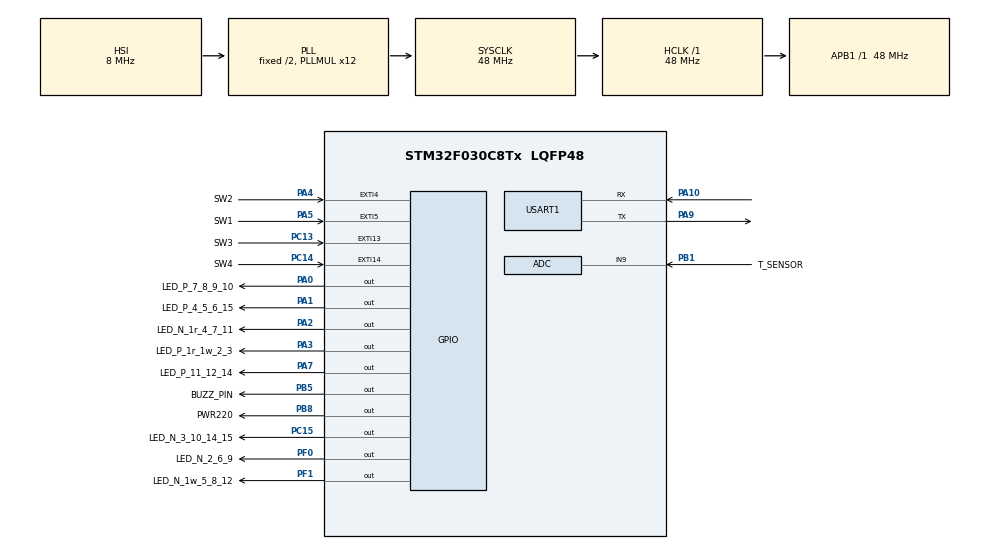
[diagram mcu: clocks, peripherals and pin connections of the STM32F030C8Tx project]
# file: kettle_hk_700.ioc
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Mcu.Family=STM32F0
Mcu.Name=STM32F030C8Tx
Mcu.Package=LQFP48
NVIC.EXTI4_15_IRQn=true\:0\:0\:false\:false\:true\:true\:true
NVIC.TIM14_IRQn=true\:0\:0\:false\:false\:true\:true\:true
NVIC.TIM15_IRQn=true\:0\:0\:false\:false\:true\:true\:true
NVIC.TIM16_IRQn=true\:0\:0\:false\:false\:true\:true\:true
NVIC.TIM6_IRQn=true\:0\:0\:false\:false\:true\:true\:true
PA0.GPIO_Label=LED_P_7_8_9_10
PA0.Signal=GPIO_Output
PA1.GPIO_Label=LED_P_4_5_6_15
PA1.Signal=GPIO_Output
PA10.Mode=Asynchronous
PA10.Signal=USART1_RX
PA13.Mode=Serial_Wire
PA13.Signal=SYS_SWDIO
PA14.Mode=Serial_Wire
PA14.Signal=SYS_SWCLK
PA2.GPIO_Label=LED_N_1r_4_7_11
PA2.Signal=GPIO_Output
PA3.GPIO_Label=LED_P_1r_1w_2_3
PA3.Signal=GPIO_Output
PA4.GPIO_Label=SW2
PA4.GPIO_ModeDefaultEXTI=GPIO_MODE_IT_RISING
PA4.GPIO_PuPd=GPIO_PULLUP
PA4.Signal=GPXTI4
PA5.GPIO_Label=SW1
PA5.GPIO_ModeDefaultEXTI=GPIO_MODE_IT_RISING
PA5.GPIO_PuPd=GPIO_PULLUP
PA5.Signal=GPXTI5
PA7.GPIO_Label=LED_P_11_12_14
PA7.Signal=GPIO_Output
PA9.Mode=Asynchronous
PA9.Signal=USART1_TX
PB1.GPIO_Label=T_SENSOR
PB1.Mode=IN9
PB1.Signal=ADC_IN9
PB5.GPIO_Label=BUZZ_PIN
PB5.Signal=GPIO_Output
PB8.GPIO_Label=PWR220
PB8.Signal=GPIO_Output
PC13.GPIO_Label=SW3
PC13.GPIO_ModeDefaultEXTI=GPIO_MODE_IT_RISING
PC13.GPIO_PuPd=GPIO_PULLUP
PC13.Signal=GPXTI13
PC14-OSC32_IN.GPIO_Label=SW4
PC14-OSC32_IN.GPIO_ModeDefaultEXTI=GPIO_MODE_IT_RISING
PC14-OSC32_IN.GPIO_PuPd=GPIO_PULLUP
PC14-OSC32_IN.Signal=GPXTI14
PC15-OSC32_OUT.GPIO_Label=LED_N_3_10_14_15
PC15-OSC32_OUT.GPIO_PuPd=GPIO_PULLDOWN
PC15-OSC32_OUT.Signal=GPIO_Output
PF0-OSC_IN.GPIO_Label=LED_N_2_6_9
PF0-OSC_IN.Signal=GPIO_Output
PF1-OSC_OUT.GPIO_Label=LED_N_1w_5_8_12
PF1-OSC_OUT.Signal=GPIO_Output
ProjectManager.HeapSize=0x200
ProjectManager.StackSize=0x400
ProjectManager.TargetToolchain=STM32CubeIDE
RCC.AHBFreq_Value=48000000
RCC.APB1Freq_Value=48000000
RCC.APB1TimFreq_Value=48000000
RCC.HCLKFreq_Value=48000000
RCC.PLLMUL=RCC_PLL_MUL12
RCC.SYSCLKFreq_VALUE=48000000
RCC.SYSCLKSource=RCC_SYSCLKSOURCE_PLLCLK
TIM14.Period=1
TIM14.Prescaler=48000-1
TIM15.Period=6
TIM15.Prescaler=1000
TIM16.Period=50
TIM16.Prescaler=15000-1
TIM6.Period=200
TIM6.Prescaler=48-1
USART1.VirtualMode-Asynchronous=VM_ASYNC
VP_TIM14_VS_ClockSourceINT.Mode=Enable_Timer
VP_TIM15_VS_ClockSourceINT.Mode=Internal
VP_TIM16_VS_ClockSourceINT.Mode=Enable_Timer
VP_TIM6_VS_ClockSourceINT.Mode=Enable_Timer
board=custom

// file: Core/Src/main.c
/* USER CODE BEGIN Header */
/**
  ******************************************************************************
  * @file           : main.c
  * @brief          : Main program body
  ******************************************************************************
  * @attention
  *
  * <h2><center>&copy; Copyright (c) 2021 STMicroelectronics.
  * All rights reserved.</center></h2>
  *
  * This software component is licensed by ST under BSD 3-Clause license,
  * the "License"; You may not use this file except in compliance with the
  * License. You may obtain a copy of the License at:
  *                        opensource.org/licenses/BSD-3-Clause
  *
  ******************************************************************************
  */
/* USER CODE END Header */
#include "main.h"

/* USER CODE BEGIN Includes */
#include <stdio.h>
#include <math.h>
/* USER CODE END Includes */

ADC_HandleTypeDef hadc;

TIM_HandleTypeDef htim6;
TIM_HandleTypeDef htim14;
TIM_HandleTypeDef htim15;
TIM_HandleTypeDef htim16;

UART_HandleTypeDef huart1;

/* USER CODE BEGIN PV */

EXTI_HandleTypeDef hexti;

/* USER CODE END PV */

void SystemClock_Config(void);
static void MX_GPIO_Init(void);
static void MX_ADC_Init(void);
static void MX_TIM6_Init(void);
static void MX_TIM14_Init(void);
static void MX_USART1_UART_Init(void);
static void MX_TIM15_Init(void);
static void MX_TIM16_Init(void);

/* USER CODE BEGIN 0 */

/**
  * @brief  Retargets the C library printf function to the USART.
  * @param  None
  * @retval None
  */
int __io_putchar(int ch)
{
  HAL_UART_Transmit(&huart1, (uint8_t *)&ch, 1, HAL_MAX_DELAY);
  return ch;
}

typedef struct {
	GPIO_TypeDef* port;
	int pin;
} GPIO_t;

// Temperature curve  19 .. 100 degrees celcius.
int T19_100[] = {
	 220,   // 19 C
	 232,  246,  257,  270,  280,  290,  305,  320,  340,  355,
	 370,  385,  400,  420,  440,  460,  475,  495,	 515,  530,
	 545,  575,  600,  620,  640,  660,  685,  710,  735,  775,
	 800,  830,  850,  880,  905,  935,  970, 1000, 1025, 1050,
	1080, 1120, 1140, 1172, 1188, 1220, 1265, 1300, 1320, 1360,
	1390, 1415, 1455, 1489, 1518, 1530,	1564, 1605, 1632, 1668,
	1675, 1708, 1741, 1774, 1807, 1840, 1873, 1906, 1939, 1972,
	2005, 2038, 2071, 2104, 2137, 2170, 2203, 2236, 2269, 2302,
	2335   // 100 C
};

// LED matrix
/*
 *
 *       |    A3       |   A1       |   A0       |   A7                  |
 * ------+-------------+------------+------------+-----------------------+
 *   A2  |  LED1r [bSr]| LED4 [t80] | LED7  [5m] |  LED11  [bStartBrew]  |
 * ------+-------------+------------+------------+-----------------------+
 *   F1  |  LED1w [bSw]| LED5 [t70] | LED8  [4m] |  LED12  [bSelT]       |
 * ------+-------------+------------+------------+-----------------------+
 *   F0  |  LED2 [t100]| LED6 [t60] | LED9  [3m] |                       |
 * ------+-------------+------------+------------+-----------------------+
 *   C15 |  LED3 [8m]  | LED15 [t90]| LED10 [2m] |  LED14  [bSelM]       |
 * ------+-------------+------------+------------+-----------------------+
 */

#define _bStartR     0     // LED1r
#define _t80_C       1     // LED4
#define _Brew_5m     2     // LED7
#define _bStartBrew  3     // LED11

#define _bStartW     4     // LED1w
#define _t70_C       5     // LED5
#define _Brew_4m     6     // LED8
#define _bSelectT    7     // LED12

#define _t100_C      8     // LED2
#define _t60_C       9     // LED6
#define _Brew_3m     10    // LED9

#define _Brew_8m     12    // LED3
#define _t90_C       13    // LED15
#define _Brew_2m     14    // LED10
#define _bSelectM    15    // LED14

GPIO_t LED_ROW_PINS[4] = {
		{LED_N_1r_4_7_11_GPIO_Port , LED_N_1r_4_7_11_Pin},
		{LED_N_1w_5_8_12_GPIO_Port, LED_N_1w_5_8_12_Pin},
		{LED_N_2_6_9_GPIO_Port, LED_N_2_6_9_Pin},
		{LED_N_3_10_14_15_GPIO_Port, LED_N_3_10_14_15_Pin}
};

GPIO_t LED_COL_PINS[4] = {
		{LED_P_1r_1w_2_3_GPIO_Port, LED_P_1r_1w_2_3_Pin},
	    {LED_P_4_5_6_15_GPIO_Port ,  LED_P_4_5_6_15_Pin},
	    {LED_P_7_8_9_10_GPIO_Port ,  LED_P_7_8_9_10_Pin},
	    {LED_P_11_12_14_GPIO_Port ,  LED_P_11_12_14_Pin}
};

int LED_state[4*4]; // LED matrix

int LED_Temp[5]     = {_t60_C, _t70_C, _t80_C, _t90_C, _t100_C};
int LED_BrewTime[5] = {_Brew_2m, _Brew_3m, _Brew_4m, _Brew_5m, _Brew_8m};

void ScanLED()
{
	static int col = 0;

	// light off LED column
	HAL_GPIO_WritePin(LED_COL_PINS[col].port, LED_COL_PINS[col].pin, GPIO_PIN_RESET);

	// Advance to next column
	if (++col >= 4) col = 0;

	// Update row values
	for (int row = 0; row < 4; row++) {
		HAL_GPIO_WritePin(
				LED_ROW_PINS[row].port, LED_ROW_PINS[row].pin,
				(LED_state[row * 4 + col] > 0) ? GPIO_PIN_RESET : GPIO_PIN_SET
		);
	}

	// light on LED column
	HAL_GPIO_WritePin(LED_COL_PINS[col].port, LED_COL_PINS[col].pin, GPIO_PIN_SET);
}

void SwitchLED_ON(int i) {
	if (LED_state[i] == 0) {
		LED_state[i] = 1;
	}
}

void SwitchLED_OFF(int i) {
	if (LED_state[i] == 1) {
		LED_state[i] = 0;
	}
}

int volatile DebounceLockCntr = 0;
int volatile ButtonEvent = 0;
int volatile ButtonEventPre = 0;

void DebounceBtn()
{
	static int DebounceCntr = 0;
	if (ButtonEventPre == 1) {
		if (HAL_GPIO_ReadPin(SW1_GPIO_Port, SW1_Pin) == GPIO_PIN_RESET) DebounceCntr++;
	}
	if (ButtonEventPre == 2) {
		if (HAL_GPIO_ReadPin(SW2_GPIO_Port, SW2_Pin) == GPIO_PIN_RESET) DebounceCntr++;
	}
	if (ButtonEventPre == 3) {
		if (HAL_GPIO_ReadPin(SW3_GPIO_Port, SW3_Pin) == GPIO_PIN_RESET) DebounceCntr++;
	}
	if (ButtonEventPre == 4) {
		if (HAL_GPIO_ReadPin(SW4_GPIO_Port, SW4_Pin) == GPIO_PIN_RESET) DebounceCntr++;
	}

	if (DebounceLockCntr <= 0) {
		HAL_TIM_Base_Stop_IT(&htim14);
		if (DebounceCntr > 20) {
			ButtonEvent = ButtonEventPre;
		} else {
			ButtonEvent = 0;
		}
		DebounceCntr = 0;
		ButtonEventPre = 0;
	}
	DebounceLockCntr--;
}

#define WIN_SIZE 64

int Temp_idx = 4;
int Heat_state = 0;

#define targetT_100 4
#define targetT_90 3
#define targetT_80 2
#define targetT_70 1
#define targetT_60 0

#define Tmode_change 0
#define Tmode_show 1

int Tmode_change_timer = 0;

int targetT = 4;

uint32_t __Tadc_uint_summ = 0;

float __Tadc = 0;
float __Tadc_prev = 0;
float __Tadc_diff = 0;
float __tC = 0;

// additional control variables
#define POWER_W              2000.0f
#define SPECIFIC_HEAT_WATER  4180.0f
#define TICK_SEC             0.016f
#define PLATE_HEAT_FRAC      0.1f
#define MASS_EST_TICKS       300

float water_mass = 1.0f;      // estimated water mass in kg
float prev_water_mass = 1.0f;
float plate_heat = 0.0f;      // estimated heat energy in heating plate
float tC_start = 0.0f;
float tC_prev = 0.0f;
int heating_ticks = 0;
int water_changed = 0;
float predicted_time_s = 0.0f;

int BrewTime_idx = -1;

//  Polynom coeffs
// -5.02524268e-12  x^4
//  3.13324193e-08  x^3
// -7.11481304e-05  x^2
//  1.02027224e-01  x^1
//  3.08967137e-01  x^0

float Tadc_to_C(float __tadc) {
#define C4 -5.02524268e-12
#define C3  3.13324193e-08
#define C2 -7.11481304e-05
#define C1  1.02027224e-01
#define C0  3.08967137e-01
	float tRes = C4 * __tadc;
	tRes = (tRes + C3) * __tadc;
	tRes = (tRes + C2) * __tadc;
	tRes = (tRes + C1) * __tadc;
	return  tRes + C0;
}

unsigned int tidx = 0;
int audio_clks = 0;

#if PWM_BEEP

#define PWM_SINE_LENGTH 64
int pwm_sine[PWM_SINE_LENGTH];
#define AUDIO_MAGNITUDE 64

void PwmSineGen() {
    float pi = acosf(-1);
	for (int t = 0; t < PWM_SINE_LENGTH; t++) {
		pwm_sine[t] = (int)((AUDIO_MAGNITUDE-2) * (1.0f + sinf(2.0f*pi*(float)t/(float)PWM_SINE_LENGTH)) / 2.0f) + 1;
	}
}

void BeepClk() {
	static int buzzer_val = 0;
	buzzer_val = (buzzer_val + 1) % PWM_SINE_LENGTH;
	TIM3->CCR2 = pwm_sine[buzzer_val];
	if (audio_clks-- <= 0) {
		HAL_TIM_PWM_Stop(&htim3, TIM_CHANNEL_2);
		HAL_TIM_Base_Stop_IT(&htim15);
	}
}

#else

void BeepStart(int beep_len) {
    audio_clks = beep_len;
    HAL_TIM_Base_Start_IT(&htim15);
}

void BeepStop() {
	HAL_TIM_Base_Stop_IT(&htim15);
}

void BeepClk() {
	static int buzzer_val = 0;
	buzzer_val ^= 1;
	HAL_GPIO_WritePin(BUZZ_PIN_GPIO_Port, BUZZ_PIN_Pin, buzzer_val);
	if (audio_clks-- <= 0) {
		BeepStop();
	}
}

#endif

int _min(int a, int b) {
	return (a < b) ? a : b;
}

int _max(int a, int b) {
	return (a > b) ? a : b;
}

void HAL_TIM_PeriodElapsedCallback(TIM_HandleTypeDef* htim)
{
	if (htim == &htim16)
	{
		static int measure_idx = 0;
		uint32_t __Tadc_uint_curr;

        HAL_ADC_Start(&hadc);
        HAL_ADC_PollForConversion(&hadc, 1);

        __Tadc_uint_curr = HAL_ADC_GetValue(&hadc);
        __Tadc_uint_summ += __Tadc_uint_curr;

        measure_idx++;

        if (measure_idx == WIN_SIZE)
        {
        	measure_idx = 0;
        	__Tadc = (float)__Tadc_uint_summ/(float)WIN_SIZE;
        	__tC = Tadc_to_C(__Tadc);
        	__Tadc_diff = __Tadc - __Tadc_prev;
        	__Tadc_prev = __Tadc;
                __Tadc_uint_summ = 0;

                float tC_diff = __tC - tC_prev;
                if (Heat_state == 0 && fabsf(tC_diff) > 3.0f) {
                        water_changed = 1;
                }
                tC_prev = __tC;

                if (Heat_state != 0) {
                        heating_ticks++;
                        if (heating_ticks == 1) {
                                tC_start = __tC;
                                plate_heat = 0.0f;
                        }
                        if (heating_ticks == MASS_EST_TICKS) {
                                float dt = (float)MASS_EST_TICKS * TICK_SEC;
                                float dT = __tC - tC_start;
                                if (dT > 0.5f) {
                                        prev_water_mass = water_mass;
                                        water_mass = (POWER_W * dt) / (SPECIFIC_HEAT_WATER * dT);
                                        if (fabsf(water_mass - prev_water_mass) > 0.1f) {
                                                water_changed = 1;
                                        }
                                }
                        }
                        plate_heat += POWER_W * PLATE_HEAT_FRAC * TICK_SEC;
                        if (plate_heat > POWER_W * 10.0f) {
                                plate_heat = POWER_W * 10.0f;
                        }

                        float target_temp = 60.0f + (float)targetT * 10.0f;
                        float predicted_final = __tC + plate_heat/(water_mass*SPECIFIC_HEAT_WATER);
                        float heating_rate = POWER_W / (water_mass*SPECIFIC_HEAT_WATER);
                        predicted_time_s = (target_temp - predicted_final) / heating_rate;
                        if (predicted_time_s <= 0.0f) {
                                ButtonEvent = 1;
                        }
                } else {
                        heating_ticks = 0;
                        plate_heat *= 0.98f;
                }

            SwitchLED_OFF(LED_Temp[Temp_idx]);

            if (Tmode_change_timer > 0) {
            	Tmode_change_timer--;
            	Temp_idx = targetT;
            	if (Tmode_change_timer == 0) {
          		  SwitchLED_OFF(_bSelectT);
                  Temp_idx = _min(_max(((int)__tC - 55) / 10, 0), 4);
            	}
            } else {
                Temp_idx = _min(_max(((int)__tC - 55) / 10, 0), 4);
            }

            SwitchLED_ON(LED_Temp[Temp_idx]);

			if (Heat_state != 0)
			{
				HAL_GPIO_WritePin(PWR220_GPIO_Port, PWR220_Pin, GPIO_PIN_SET);

				// c1 = min(abs((2350 - T1)./D1), 40);
				if (targetT == targetT_100) {
		        	float C = fabs((2350.0f - __Tadc)/__Tadc_diff);
					if (__Tadc >= 1000.0f && C < 20.0f) // Prediction criterion
					{
						BeepStart(2000);
						ButtonEvent = 1;
					}

				}
				if (targetT == targetT_90) {
		        	float C = fabs((2005.0f - __Tadc)/__Tadc_diff);
					if (__Tadc >= 1000.0f && C < 20.0f) // Prediction criterion
					{
						ButtonEvent = 1;
					}
				}
				if (targetT == targetT_80) {
		        	float C = fabs((1675.0f - __Tadc)/__Tadc_diff);
					if (__Tadc >= 1000.0f && C < 20.0f) // Prediction criterion
					{
						ButtonEvent = 1;
					}
				}
				if (targetT == targetT_70) {
		        	float C = fabs((1390.0f - __Tadc)/__Tadc_diff);
					if (__Tadc >= 700.0f && C < 20.0f) // Prediction criterion
					{
						ButtonEvent = 1;
					}
				}
				if (targetT == targetT_60) {
		        	float C = fabs((1080.0f - __Tadc)/__Tadc_diff);
					if (__Tadc >= 500.0f && C < 20.0f) // Prediction criterion
					{
						ButtonEvent = 1;
					}
				}
				if (__Tadc >= 2300.0f) // Hard Stop criterion
				{
					ButtonEvent = 1;
				}
			}
			else
			{
				HAL_GPIO_WritePin(PWR220_GPIO_Port, PWR220_Pin, GPIO_PIN_RESET);
			}

			//printf("%.8i: %7.2f: %7.2f: %7.3f:\n\r", tidx++, __Tadc, __tC , C);
        }
	}
	if (htim == &htim6) {
		ScanLED();
	}
	if (htim == &htim14) {
		DebounceBtn();
	}
	if (htim == &htim15) {
		BeepClk();
	}
}

void HAL_GPIO_EXTI_Callback(uint16_t GPIO_Pin) {
	if (DebounceLockCntr <= 0) {
		HAL_TIM_Base_Start_IT(&htim14);
		DebounceLockCntr = 50;
		if (GPIO_Pin == SW1_Pin) ButtonEventPre = 1;
		if (GPIO_Pin == SW2_Pin) ButtonEventPre = 2;
		if (GPIO_Pin == SW3_Pin) ButtonEventPre = 3;
		if (GPIO_Pin == SW4_Pin) ButtonEventPre = 4;
	}
}

/* USER CODE END 0 */

int main(void)
{

  /* MCU Configuration--------------------------------------------------------*/

  /* Reset of all peripherals, Initializes the Flash interface and the Systick. */
  HAL_Init();

  /* Configure the system clock */
  SystemClock_Config();

  /* Initialize all configured peripherals */
  MX_GPIO_Init();
  MX_ADC_Init();
  MX_TIM6_Init();
  MX_TIM14_Init();
  MX_USART1_UART_Init();
  MX_TIM15_Init();
  MX_TIM16_Init();
  /* USER CODE BEGIN 2 */
  HAL_TIM_Base_Start_IT(&htim6);
  HAL_TIM_Base_Start_IT(&htim16);
  /* USER CODE END 2 */

  /* Infinite loop */
  /* USER CODE BEGIN WHILE */
  SwitchLED_ON(_bStartW);
  SwitchLED_ON(LED_Temp[Temp_idx]);
  //SwitchLED_ON(LED_Temp[Temp_idx]);
  while (1)
  {
    /* USER CODE END WHILE */

    /* USER CODE BEGIN 3 */

	  if (ButtonEvent == 1) { // Push heating button
		  ButtonEvent = 0;
		  Heat_state = !Heat_state;
		  SwitchLED_OFF(_bStartR);
		  SwitchLED_OFF(_bStartW);
                  if (Heat_state != 0) {
                          SwitchLED_ON(_bStartR);
                          tidx = 0;

                          heating_ticks = 0;
                          plate_heat = 0.0f;
                          tC_start = __tC;
                          tC_prev = __tC;
                          water_changed = 0;

                          SwitchLED_ON(_bSelectT);
			  SwitchLED_OFF(LED_Temp[Temp_idx]);
			  Tmode_change_timer = 5;
			  Temp_idx = targetT;
			  SwitchLED_ON(LED_Temp[Temp_idx]);
			  BeepStart(1000);

			  //printf("%.8i: %7.2f: START HEATING\n\r", tidx, __Tadc);
		  }
                  if (Heat_state == 0) {
                          SwitchLED_ON(_bStartW);
                          heating_ticks = 0;
                          predicted_time_s = 0.0f;
                          //printf("%.8i: %7.2f: STOP HEATING\n\r", tidx, __Tadc);
                  }
	  }
	  if (ButtonEvent == 2) {
		  ButtonEvent = 0;
	  }
	  if (ButtonEvent == 3) { // Push temperature select button
		  ButtonEvent = 0;
		  if (Tmode_change_timer > 0) {
			  if (++targetT == 5) targetT = 0;
		  }

		  SwitchLED_ON(_bSelectT);
		  SwitchLED_OFF(LED_Temp[Temp_idx]);
		  Tmode_change_timer = 5;
		  Temp_idx = targetT;
		  SwitchLED_ON(LED_Temp[Temp_idx]);
		  BeepStart(300);

	  }
	  if (ButtonEvent == 4) { // Push brew time select button ?
		  ButtonEvent = 0;
		  if (BrewTime_idx >= 0)
			  SwitchLED_OFF(LED_BrewTime[BrewTime_idx]);
		  if (++BrewTime_idx == 5) BrewTime_idx = -1;
		  if (BrewTime_idx >= 0)
			  SwitchLED_ON(LED_BrewTime[BrewTime_idx]);
	  }
  }
  /* USER CODE END 3 */
}

void SystemClock_Config(void)
{
  RCC_OscInitTypeDef RCC_OscInitStruct = {0};
  RCC_ClkInitTypeDef RCC_ClkInitStruct = {0};
  RCC_PeriphCLKInitTypeDef PeriphClkInit = {0};

  /** Initializes the RCC Oscillators according to the specified parameters
  * in the RCC_OscInitTypeDef structure.
  */
  RCC_OscInitStruct.OscillatorType = RCC_OSCILLATORTYPE_HSI|RCC_OSCILLATORTYPE_HSI14;
  RCC_OscInitStruct.HSIState = RCC_HSI_ON;
  RCC_OscInitStruct.HSI14State = RCC_HSI14_ON;
  RCC_OscInitStruct.HSICalibrationValue = RCC_HSICALIBRATION_DEFAULT;
  RCC_OscInitStruct.HSI14CalibrationValue = 16;
  RCC_OscInitStruct.PLL.PLLState = RCC_PLL_ON;
  RCC_OscInitStruct.PLL.PLLSource = RCC_PLLSOURCE_HSI;
  RCC_OscInitStruct.PLL.PLLMUL = RCC_PLL_MUL12;
  RCC_OscInitStruct.PLL.PREDIV = RCC_PREDIV_DIV1;
  if (HAL_RCC_OscConfig(&RCC_OscInitStruct) != HAL_OK)
  {
    Error_Handler();
  }
  /** Initializes the CPU, AHB and APB buses clocks
  */
  RCC_ClkInitStruct.ClockType = RCC_CLOCKTYPE_HCLK|RCC_CLOCKTYPE_SYSCLK
                              |RCC_CLOCKTYPE_PCLK1;
  RCC_ClkInitStruct.SYSCLKSource = RCC_SYSCLKSOURCE_PLLCLK;
  RCC_ClkInitStruct.AHBCLKDivider = RCC_SYSCLK_DIV1;
  RCC_ClkInitStruct.APB1CLKDivider = RCC_HCLK_DIV1;

  if (HAL_RCC_ClockConfig(&RCC_ClkInitStruct, FLASH_LATENCY_1) != HAL_OK)
  {
    Error_Handler();
  }
  PeriphClkInit.PeriphClockSelection = RCC_PERIPHCLK_USART1;
  PeriphClkInit.Usart1ClockSelection = RCC_USART1CLKSOURCE_PCLK1;
  if (HAL_RCCEx_PeriphCLKConfig(&PeriphClkInit) != HAL_OK)
  {
    Error_Handler();
  }
}

static void MX_ADC_Init(void)
{

  ADC_ChannelConfTypeDef sConfig = {0};

  /** Configure the global features of the ADC (Clock, Resolution, Data Alignment and number of conversion)
  */
  hadc.Instance = ADC1;
  hadc.Init.ClockPrescaler = ADC_CLOCK_ASYNC_DIV1;
  hadc.Init.Resolution = ADC_RESOLUTION_12B;
  hadc.Init.DataAlign = ADC_DATAALIGN_RIGHT;
  hadc.Init.ScanConvMode = ADC_SCAN_DIRECTION_FORWARD;
  hadc.Init.EOCSelection = ADC_EOC_SINGLE_CONV;
  hadc.Init.LowPowerAutoWait = DISABLE;
  hadc.Init.LowPowerAutoPowerOff = DISABLE;
  hadc.Init.ContinuousConvMode = DISABLE;
  hadc.Init.DiscontinuousConvMode = DISABLE;
  hadc.Init.ExternalTrigConv = ADC_SOFTWARE_START;
  hadc.Init.ExternalTrigConvEdge = ADC_EXTERNALTRIGCONVEDGE_NONE;
  hadc.Init.DMAContinuousRequests = DISABLE;
  hadc.Init.Overrun = ADC_OVR_DATA_PRESERVED;
  if (HAL_ADC_Init(&hadc) != HAL_OK)
  {
    Error_Handler();
  }
  /** Configure for the selected ADC regular channel to be converted.
  */
  sConfig.Channel = ADC_CHANNEL_9;
  sConfig.Rank = ADC_RANK_CHANNEL_NUMBER;
  sConfig.SamplingTime = ADC_SAMPLETIME_1CYCLE_5;
  if (HAL_ADC_ConfigChannel(&hadc, &sConfig) != HAL_OK)
  {
    Error_Handler();
  }

}

static void MX_TIM6_Init(void)
{

  htim6.Instance = TIM6;
  htim6.Init.Prescaler = 48-1;
  htim6.Init.CounterMode = TIM_COUNTERMODE_UP;
  htim6.Init.Period = 200;
  htim6.Init.AutoReloadPreload = TIM_AUTORELOAD_PRELOAD_DISABLE;
  if (HAL_TIM_Base_Init(&htim6) != HAL_OK)
  {
    Error_Handler();
  }

}

static void MX_TIM14_Init(void)
{

  htim14.Instance = TIM14;
  htim14.Init.Prescaler = 48000-1;
  htim14.Init.CounterMode = TIM_COUNTERMODE_UP;
  htim14.Init.Period = 1;
  htim14.Init.ClockDivision = TIM_CLOCKDIVISION_DIV1;
  htim14.Init.AutoReloadPreload = TIM_AUTORELOAD_PRELOAD_DISABLE;
  if (HAL_TIM_Base_Init(&htim14) != HAL_OK)
  {
    Error_Handler();
  }

}

static void MX_TIM15_Init(void)
{

  TIM_ClockConfigTypeDef sClockSourceConfig = {0};
  TIM_MasterConfigTypeDef sMasterConfig = {0};

  htim15.Instance = TIM15;
  htim15.Init.Prescaler = 1000;
  htim15.Init.CounterMode = TIM_COUNTERMODE_UP;
  htim15.Init.Period = 6;
  htim15.Init.ClockDivision = TIM_CLOCKDIVISION_DIV1;
  htim15.Init.RepetitionCounter = 0;
  htim15.Init.AutoReloadPreload = TIM_AUTORELOAD_PRELOAD_DISABLE;
  if (HAL_TIM_Base_Init(&htim15) != HAL_OK)
  {
    Error_Handler();
  }
  sClockSourceConfig.ClockSource = TIM_CLOCKSOURCE_INTERNAL;
  if (HAL_TIM_ConfigClockSource(&htim15, &sClockSourceConfig) != HAL_OK)
  {
    Error_Handler();
  }
  sMasterConfig.MasterOutputTrigger = TIM_TRGO_RESET;
  sMasterConfig.MasterSlaveMode = TIM_MASTERSLAVEMODE_DISABLE;
  if (HAL_TIMEx_MasterConfigSynchronization(&htim15, &sMasterConfig) != HAL_OK)
  {
    Error_Handler();
  }

}

static void MX_TIM16_Init(void)
{

  htim16.Instance = TIM16;
  htim16.Init.Prescaler = 15000-1;
  htim16.Init.CounterMode = TIM_COUNTERMODE_UP;
  htim16.Init.Period = 50;
  htim16.Init.ClockDivision = TIM_CLOCKDIVISION_DIV1;
  htim16.Init.RepetitionCounter = 0;
  htim16.Init.AutoReloadPreload = TIM_AUTORELOAD_PRELOAD_DISABLE;
  if (HAL_TIM_Base_Init(&htim16) != HAL_OK)
  {
    Error_Handler();
  }

}

static void MX_USART1_UART_Init(void)
{

  huart1.Instance = USART1;
  huart1.Init.BaudRate = 38400;
  huart1.Init.WordLength = UART_WORDLENGTH_8B;
  huart1.Init.StopBits = UART_STOPBITS_1;
  huart1.Init.Parity = UART_PARITY_NONE;
  huart1.Init.Mode = UART_MODE_TX_RX;
  huart1.Init.HwFlowCtl = UART_HWCONTROL_NONE;
  huart1.Init.OverSampling = UART_OVERSAMPLING_16;
  huart1.Init.OneBitSampling = UART_ONE_BIT_SAMPLE_DISABLE;
  huart1.AdvancedInit.AdvFeatureInit = UART_ADVFEATURE_NO_INIT;
  if (HAL_UART_Init(&huart1) != HAL_OK)
  {
    Error_Handler();
  }

}

static void MX_GPIO_Init(void)
{
  GPIO_InitTypeDef GPIO_InitStruct = {0};

  /* GPIO Ports Clock Enable */
  __HAL_RCC_GPIOC_CLK_ENABLE();
  __HAL_RCC_GPIOF_CLK_ENABLE();
  __HAL_RCC_GPIOA_CLK_ENABLE();
  __HAL_RCC_GPIOB_CLK_ENABLE();

  /*Configure GPIO pin Output Level */
  HAL_GPIO_WritePin(LED_N_3_10_14_15_GPIO_Port, LED_N_3_10_14_15_Pin, GPIO_PIN_RESET);

  /*Configure GPIO pin Output Level */
  HAL_GPIO_WritePin(GPIOF, LED_N_2_6_9_Pin|LED_N_1w_5_8_12_Pin, GPIO_PIN_RESET);

  /*Configure GPIO pin Output Level */
  HAL_GPIO_WritePin(GPIOA, LED_P_7_8_9_10_Pin|LED_P_4_5_6_15_Pin|LED_N_1r_4_7_11_Pin|LED_P_1r_1w_2_3_Pin
                          |LED_P_11_12_14_Pin, GPIO_PIN_RESET);

  /*Configure GPIO pin Output Level */
  HAL_GPIO_WritePin(GPIOB, BUZZ_PIN_Pin|PWR220_Pin, GPIO_PIN_RESET);

  /*Configure GPIO pins : SW3_Pin SW4_Pin */
  GPIO_InitStruct.Pin = SW3_Pin|SW4_Pin;
  GPIO_InitStruct.Mode = GPIO_MODE_IT_RISING;
  GPIO_InitStruct.Pull = GPIO_PULLUP;
  HAL_GPIO_Init(GPIOC, &GPIO_InitStruct);

  /*Configure GPIO pin : LED_N_3_10_14_15_Pin */
  GPIO_InitStruct.Pin = LED_N_3_10_14_15_Pin;
  GPIO_InitStruct.Mode = GPIO_MODE_OUTPUT_PP;
  GPIO_InitStruct.Pull = GPIO_PULLDOWN;
  GPIO_InitStruct.Speed = GPIO_SPEED_FREQ_LOW;
  HAL_GPIO_Init(LED_N_3_10_14_15_GPIO_Port, &GPIO_InitStruct);

  /*Configure GPIO pins : LED_N_2_6_9_Pin LED_N_1w_5_8_12_Pin */
  GPIO_InitStruct.Pin = LED_N_2_6_9_Pin|LED_N_1w_5_8_12_Pin;
  GPIO_InitStruct.Mode = GPIO_MODE_OUTPUT_PP;
  GPIO_InitStruct.Pull = GPIO_NOPULL;
  GPIO_InitStruct.Speed = GPIO_SPEED_FREQ_LOW;
  HAL_GPIO_Init(GPIOF, &GPIO_InitStruct);

  /*Configure GPIO pins : LED_P_7_8_9_10_Pin LED_P_4_5_6_15_Pin LED_N_1r_4_7_11_Pin LED_P_1r_1w_2_3_Pin
                           LED_P_11_12_14_Pin */
  GPIO_InitStruct.Pin = LED_P_7_8_9_10_Pin|LED_P_4_5_6_15_Pin|LED_N_1r_4_7_11_Pin|LED_P_1r_1w_2_3_Pin
                          |LED_P_11_12_14_Pin;
  GPIO_InitStruct.Mode = GPIO_MODE_OUTPUT_PP;
  GPIO_InitStruct.Pull = GPIO_NOPULL;
  GPIO_InitStruct.Speed = GPIO_SPEED_FREQ_LOW;
  HAL_GPIO_Init(GPIOA, &GPIO_InitStruct);

  /*Configure GPIO pins : SW2_Pin SW1_Pin */
  GPIO_InitStruct.Pin = SW2_Pin|SW1_Pin;
  GPIO_InitStruct.Mode = GPIO_MODE_IT_RISING;
  GPIO_InitStruct.Pull = GPIO_PULLUP;
  HAL_GPIO_Init(GPIOA, &GPIO_InitStruct);

  /*Configure GPIO pins : BUZZ_PIN_Pin PWR220_Pin */
  GPIO_InitStruct.Pin = BUZZ_PIN_Pin|PWR220_Pin;
  GPIO_InitStruct.Mode = GPIO_MODE_OUTPUT_PP;
  GPIO_InitStruct.Pull = GPIO_NOPULL;
  GPIO_InitStruct.Speed = GPIO_SPEED_FREQ_LOW;
  HAL_GPIO_Init(GPIOB, &GPIO_InitStruct);

  /* EXTI interrupt init*/
  HAL_NVIC_SetPriority(EXTI4_15_IRQn, 0, 0);
  HAL_NVIC_EnableIRQ(EXTI4_15_IRQn);

}

void Error_Handler(void)
{
  __disable_irq();
  while (1)
  {
  }
}

/************************ (C) COPYRIGHT STMicroelectronics *****END OF FILE****/
